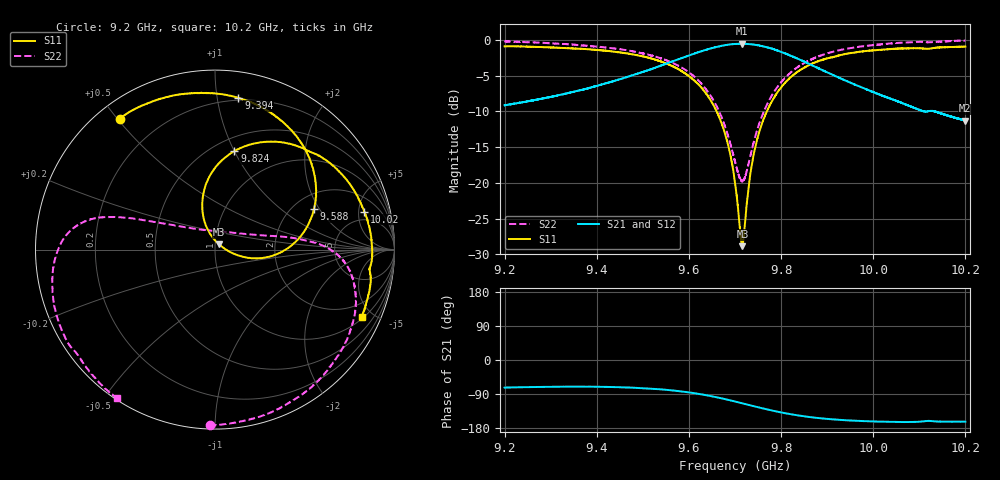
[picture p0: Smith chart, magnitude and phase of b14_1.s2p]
!Agilent Technologies,N5242A,MY51221714,A.09.90.19
!Agilent N5242A: A.09.90.19
!Date: Saturday, March 16, 2024 09:29:13
!Correction: S11(Full 2 Port(1,2))
!S21(Full 2 Port(1,2))
!S12(Full 2 Port(1,2))
!S22(Full 2 Port(1,2))
!S2P File: Measurements: S11, S21, S12, S22:
# Hz S  dB  R 50
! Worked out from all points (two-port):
!   16001 points, 9.2 GHz to 10.2 GHz, reference 50 ohm
!   highest |S21| = -0.52 dB at 9.716 GHz (marker M1); lowest = -11.3 dB at 10.2 GHz (marker M2)
!   |S21| within 3 dB of the highest: 9.54154 GHz to 9.541591 GHz (50.95 kHz wide, 0.000534 % of centre); 9.542 GHz to 9.866 GHz (324.3 MHz wide, 3.34 % of centre)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
!   lowest |S11| = -28.9 dB at 9.716 GHz (marker M3), VSWR 1.07, Z = 52.2 + j2.99 ohm
!   |S11| at or under -10 dB: 9.66 GHz to 9.769 GHz (108.9 MHz wide, 1.12 % of centre)
!   |S22| runs from -19.8 to -0.1 dB; largest |S21 - S12| = 0.013
!   S11 on the Smith chart (normalised r, x): 9.2 GHz: 0.06, +0.51; 9.394 GHz: 0.18, +1.15; 9.588 GHz: 2.56, +1.77; 9.824 GHz: 0.63, +1.00; 10.02 GHz: 3.59, +5.79; 10.2 GHz: 1.12, -4.31
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9.2e9  -0.89 126.1  -9.13 -72.9  -9.12 -73.4  -0.17 -91.8
9.277562e9  -0.99 108.8  -8.26 -71.2  -8.23 -71.6  -0.38 -70.2
9.366688e9  -1.25 88.0  -7.00 -70.4  -6.96 -70.9  -0.74 -46.4
9.393688e9  -1.36 81.2  -6.53 -70.5  -6.51 -71.1  -0.89 -39.3
9.533375e9  -2.87 41.3  -3.72 -76.9  -3.71 -77.5  -2.44 -8.3
9.587938e9  -4.53 22.2  -2.46 -83.6  -2.43 -84.2  -3.99 0.7
9.66e9  -9.97 -6.6  -0.98 -98.3  -0.97 -98.9  -9.24 12.7
9.6835e9  -14.32 -13.9  -0.67 -104.7  -0.66 -105.3  -13.12 22.5
9.7e9  -19.88 -11.5  -0.56 -109.5  -0.54 -110.1  -17.00 41.4
9.7155e9  -28.66 46.4  -0.52 -114.2  -0.51 -114.8  -19.68 83.9
9.716062e9  -28.85 52.4  -0.53 -114.3  -0.50 -115.0  -19.77 86.3
9.735625e9  -17.74 110.2  -0.60 -120.4  -0.59 -121.0  -15.58 135.3
9.7535e9  -12.66 107.5  -0.79 -125.7  -0.77 -126.3  -11.54 149.1
9.78425e9  -8.12 95.6  -1.30 -134.3  -1.30 -135.0  -7.32 157.5
9.823625e9  -5.05 78.9  -2.27 -143.5  -2.27 -144.2  -4.41 162.5
9.866688e9  -3.34 62.0  -3.53 -151.2  -3.51 -151.8  -2.69 167.3
9.949125e9  -1.85 35.1  -5.93 -159.5  -5.93 -160.1  -1.15 -179.8
1.002494e10  -1.33 14.3  -7.93 -163.0  -7.90 -163.4  -0.56 -164.5
1.003338e10  -1.30 12.2  -8.13 -163.0  -8.11 -163.6  -0.51 -162.7
1.01055e10  -1.17 -5.2  -9.90 -162.4  -9.89 -163.0  -0.26 -146.8
1.019988e10  -0.94 -24.6  -11.28 -162.5  -11.27 -163.1  -0.07 -123.3
1.02e10  -0.94 -24.6  -11.28 -162.5  -11.27 -163.1  -0.07 -123.3
